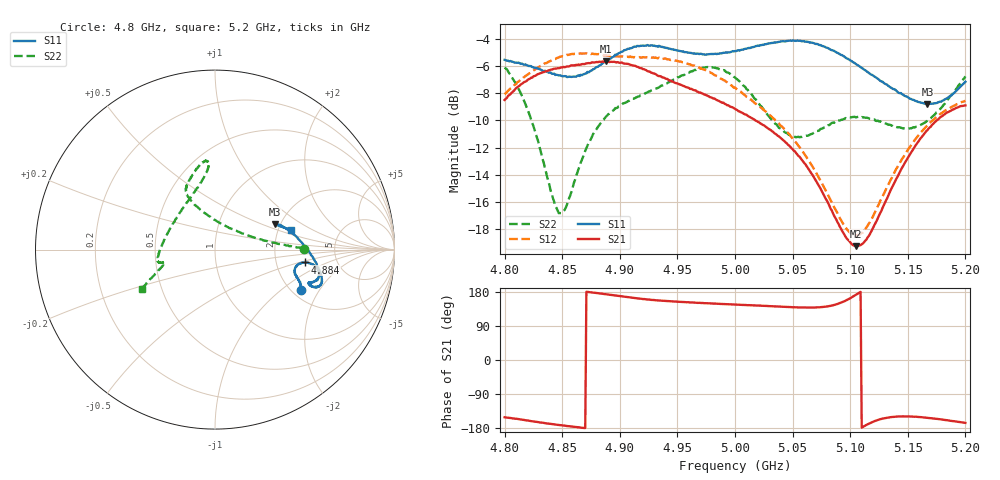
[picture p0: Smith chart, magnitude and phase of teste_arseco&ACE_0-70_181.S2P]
! Network Analyzer HP8722D
! Hewlett-Packard
! Data name: Linha & Wilkinson
! Saver's name: Rodrigo Anjos
! Comments: Teste da utilização de aquisição
! continua pelo VNA HP8722D
! Time and date: 8/5/2025 14:16
!  Frequency  S11  S21  S12  S22
# HZ  S  MA R 50
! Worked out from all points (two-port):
!   401 points, 4.8 GHz to 5.2 GHz, reference 50 ohm
!   highest |S21| = -5.65 dB at 4.888 GHz (marker M1); lowest = -19.3 dB at 5.105 GHz (marker M2)
!   |S21| within 3 dB of the highest: start of sweep to 4.988 GHz
!   lowest |S11| = -8.8 dB at 5.167 GHz (marker M3), VSWR 2.14, Z = 93.9 + j30.6 ohm
!   |S11| at or under -10 dB: nowhere
!   |S22| runs from -16.8 to -6.0 dB; largest |S21 - S12| = 1.1
!   S11 on the Smith chart (normalised r, x): 4.8 GHz: 2.24, -1.39; 4.884 GHz: 2.95, -0.57; 5.2 GHz: 2.35, +0.64
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4.8e9  0.5287 -25.0  0.3762 -151.1  0.3951 8.2  0.4953 0.6
4.82e9  0.5036 -21.0  0.4465 -159.5  0.4668 5.4  0.3463 5.7
4.842e9  0.4695 -17.4  0.4886 -169.6  0.5283 1.9  0.1634 37.8
4.847e9  0.4635 -16.2  0.4925 -171.5  0.5395 0.9  0.1442 56.6
4.853e9  0.4604 -15.1  0.4977 -173.6  0.5487 -0.2  0.1507 79.8
4.867e9  0.4641 -10.8  0.5097 -178.8  0.5573 -2.1  0.2261 108.8
4.884e9  0.5088 -8.1  0.5199 175.0  0.5507 -3.2  0.3107 116.4
4.888e9  0.5242 -8.0  0.522 173.5  0.5502 -3.3  0.3266 116.9
4.913e9  0.5912 -12.1  0.5032 163.4  0.5413 -2.5  0.3818 114.8
4.934e9  0.5957 -16.6  0.4606 157.0  0.5386 -3.5  0.4188 109.1
4.976e9  0.5541 -19.6  0.3902 149.8  0.4802 -7.1  0.4974 96.2
5e9  0.5696 -20.5  0.3489 146.3  0.4182 -7.0  0.4557 94.9
5.045e9  0.6205 -18.5  0.2603 140.0  0.287 1.7  0.2844 133.8
5.067e9  0.6114 -13.9  0.2001 138.4  0.2151 8.6  0.2824 165.1
5.095e9  0.5431 -3.9  0.1199 155.0  0.1297 35.2  0.3203 -172.5
5.105e9  0.5104 0.9  0.109 172.2  0.1194 54.6  0.3243 -169.1
5.116e9  0.4742 6.3  0.1186 -168.3  0.1316 75.7  0.3224 -167.2
5.134e9  0.4213 15.1  0.1705 -151.4  0.1869 94.2  0.305 -166.3
5.151e9  0.3824 21.3  0.234 -149.0  0.2501 99.4  0.2956 -164.9
5.167e9  0.3638 22.9  0.2912 -152.5  0.3035 100.2  0.3153 -161.7
5.183e9  0.3795 20.4  0.3359 -158.6  0.345 100.2  0.3687 -157.1
5.2e9  0.439 14.6  0.3592 -166.0  0.3739 100.7  0.4596 -151.7
